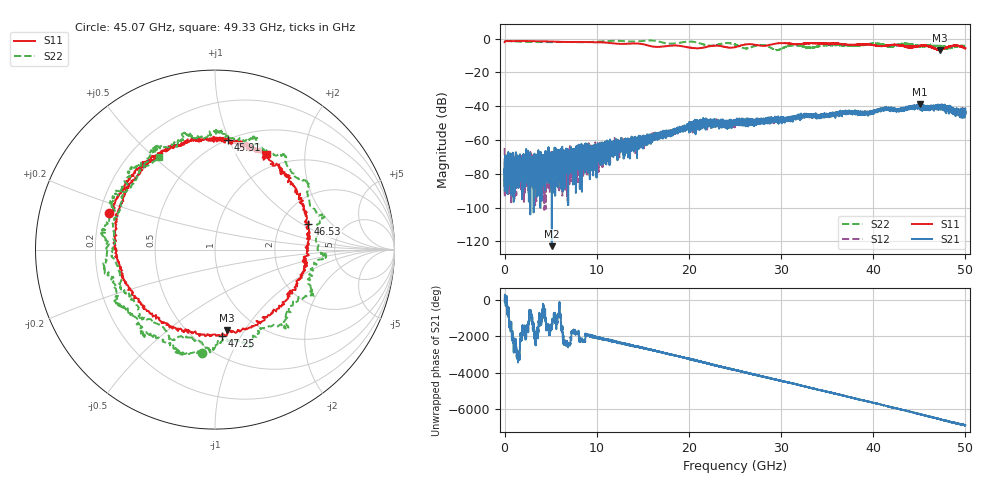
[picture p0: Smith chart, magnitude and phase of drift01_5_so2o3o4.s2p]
!Created with skrf (http://scikit-rf.org).
# Hz S RI R 50.0
!freq ReS11 ImS11 ReS21 ImS21 ReS12 ImS12 ReS22 ImS22
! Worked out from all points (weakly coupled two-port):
!   10001 points, 300 kHz to 50 GHz, reference 50 ohm
!   highest |S21| = -38.70 dB at 45.08 GHz (marker M1); lowest = -122.9 dB at 5.125 GHz (marker M2)
!   lowest |S11| = -6.9 dB at 47.21 GHz (marker M3), VSWR 2.66, Z = 37.1 - j42 ohm
!   |S11| at or under -10 dB: nowhere
!   |S22| runs from -6.9 to -1.1 dB; largest |S21 - S12| = 0.0036
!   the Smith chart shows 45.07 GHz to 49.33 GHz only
!   S11 on the Smith chart (normalised r, x): 45.07 GHz: 0.24, +0.16; 45.91 GHz: 0.51, +0.99; 46.53 GHz: 2.83, +1.14; 47.25 GHz: 0.66, -0.83; 49.33 GHz: 0.80, +1.35
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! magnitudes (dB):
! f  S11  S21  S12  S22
! 300 kHz  -2.1  -73.4  -64.7  -1.3
! 265.3 MHz  -1.4  -79.3  -79.6  -1.4
! 5.125 GHz  -1.7  -122.9  -71.6  -2.1
! 8.335 GHz  -2.0  -68.6  -67.1  -2.1
! 16.67 GHz  -4.9  -57.4  -56.6  -1.6
! 21.61 GHz  -5.3  -50.4  -50.0  -3.5
! 25 GHz  -5.0  -50.0  -50.3  -3.4
! 26.18 GHz  -3.4  -49.3  -49.5  -5.8
! 28.1 GHz  -4.3  -47.5  -49.7  -3.8
! 29.51 GHz  -2.8  -48.9  -48.0  -6.7
! 31.28 GHz  -3.1  -49.2  -47.1  -4.0
! 33.34 GHz  -2.6  -46.6  -45.4  -5.4
! 40.13 GHz  -3.9  -43.2  -43.0  -2.9
! 41.67 GHz  -3.9  -41.7  -41.7  -4.6
! 45.07 GHz  -4.1  -39.7  -40.3  -4.7
! 45.08 GHz  -4.3  -38.7  -40.0  -4.6
! 45.91 GHz  -4.2  -40.5  -40.7  -4.1
! 46.53 GHz  -5.4  -40.9  -40.6  -4.1
! 47.21 GHz  -6.9  -41.1  -40.2  -4.7
! 47.25 GHz  -6.3  -41.1  -40.4  -4.4
! 49.33 GHz  -4.3  -45.2  -44.1  -4.4
! 50 GHz  -5.7  -44.1  -43.1  -4.3
